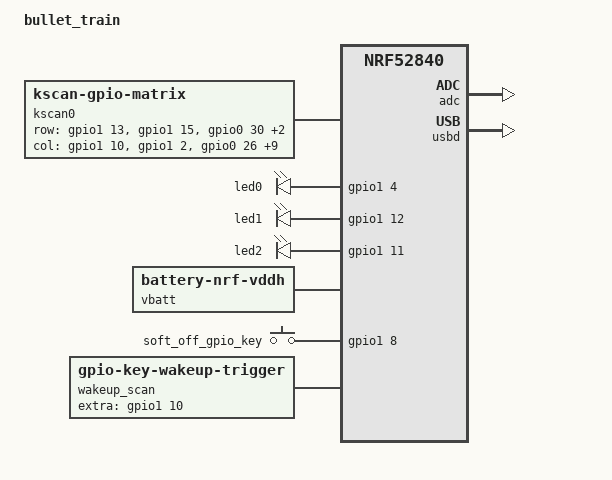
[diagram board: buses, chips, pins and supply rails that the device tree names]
/*
 * Copyright (c) 2025 CannonKeys LLC
 *
 * SPDX-License-Identifier: MIT
 */

/dts-v1/;
#include <nordic/nrf52840_qiaa.dtsi>

#include "bullet_train-layouts.dtsi"
#include "bullet_train-transforms.dtsi"


/ {
    model = "bullet_train";
    compatible = "cannonkeys,bullet_train";

    chosen {
        zephyr,code-partition = &code_partition;
        zephyr,sram = &sram0;
        zephyr,flash = &flash0;
        zmk,battery = &vbatt;
        zmk,kscan = &kscan0;
	    zmk,physical-layout = &split_space;
    };

    kscan0: kscan {
        compatible = "zmk,kscan-gpio-matrix";
        wakeup-source;

        diode-direction = "col2row";
        row-gpios
            = <&gpio1 13 (GPIO_ACTIVE_HIGH | GPIO_PULL_DOWN)>
            , <&gpio1 15 (GPIO_ACTIVE_HIGH | GPIO_PULL_DOWN)>
            , <&gpio0 30 (GPIO_ACTIVE_HIGH | GPIO_PULL_DOWN)>
            , <&gpio0 25 (GPIO_ACTIVE_HIGH | GPIO_PULL_DOWN)>
            , <&gpio0 22 (GPIO_ACTIVE_HIGH | GPIO_PULL_DOWN)>
            ;
        col-gpios
            = <&gpio1 10 GPIO_ACTIVE_HIGH>
            , <&gpio1  2 GPIO_ACTIVE_HIGH>
            , <&gpio0 26 GPIO_ACTIVE_HIGH>
            , <&gpio0 29 GPIO_ACTIVE_HIGH>
            , <&gpio0 31 GPIO_ACTIVE_HIGH>
            , <&gpio0 28 GPIO_ACTIVE_HIGH>
            , <&gpio0 13 GPIO_ACTIVE_HIGH>
            , <&gpio0 16 GPIO_ACTIVE_HIGH>
            , <&gpio0 15 GPIO_ACTIVE_HIGH>
            , <&gpio0 20 GPIO_ACTIVE_HIGH>
            , <&gpio0 24 GPIO_ACTIVE_HIGH>
            , <&gpio1  0 GPIO_ACTIVE_HIGH>
            ;
    };

    aliases {
        led-red = &led0;
        led-green = &led1;
        led-blue = &led2;
    };

    leds {
        compatible = "gpio-leds";
        status = "okay";
        led0: led_0 {
            gpios = <&gpio1 4 GPIO_ACTIVE_HIGH>;  // red LED
        };
        led1: led_1 {
            gpios = <&gpio1 12 GPIO_ACTIVE_HIGH>;  // green LED
        };
        led2: led_2 {
            gpios = <&gpio1 11 GPIO_ACTIVE_HIGH>;  // blue LED
        };
    };

    vbatt: vbatt {
        compatible = "zmk,battery-nrf-vddh";
    };

    keys {
        compatible = "gpio-keys";
        soft_off_gpio_key: soft_off_gpio_key {
            gpios = <&gpio1 8 (GPIO_ACTIVE_HIGH | GPIO_PULL_DOWN)>;
        };
    };

    wakeup_scan: wakeup_scan {
        compatible = "zmk,gpio-key-wakeup-trigger";
        trigger = <&soft_off_gpio_key>;
        wakeup-source;
        extra-gpios = <&gpio1 10 GPIO_ACTIVE_HIGH>;
    };

    soft_off_wakers {
        compatible = "zmk,soft-off-wakeup-sources";
        wakeup-sources = <&wakeup_scan>;
    };
};

&adc {
    status = "okay";
};

&gpiote {
    status = "okay";
};

&gpio0 {
    status = "okay";
};

&gpio1 {
    status = "okay";
};

zephyr_udc0: &usbd {
    status = "okay";
};

&flash0 {
    /*
     * For more information, see:
     * http://docs.zephyrproject.org/latest/devices/dts/flash_partitions.html
     */
    partitions {
        compatible = "fixed-partitions";
        #address-cells = <1>;
        #size-cells = <1>;

        sd_partition: partition@0 {
            label = "mbr";
            reg = <0x00000000 0x00001000>;
        };

        code_partition: partition@1000 {
            label = "code_partition";
            reg = <0x00001000 0x000d3000>;
        };

        /*
         * The flash starting at 0x000d4000 and ending at
         * 0x000f3fff is reserved for use by the application.
         */

        /*
         * Storage partition will be used by FCB/LittleFS/NVS
         * if enabled.
         */
        storage_partition: partition@d4000 {
            label = "storage";
            reg = <0x000d4000 0x00020000>;
        };

        boot_partition: partition@f4000 {
            label = "adafruit_boot";
            reg = <0x000f4000 0x0000c000>;
        };
    };
};
